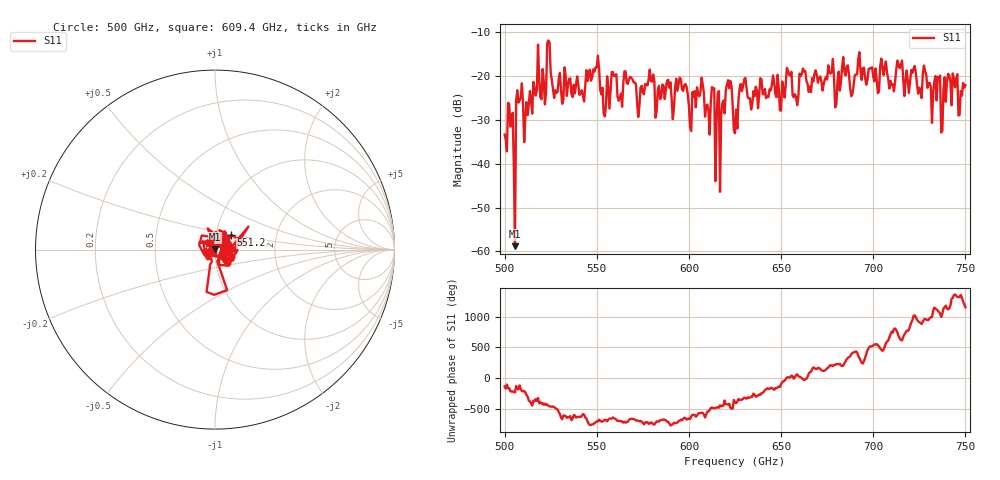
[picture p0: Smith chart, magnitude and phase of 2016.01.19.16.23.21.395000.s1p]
!Created with skrf (http://scikit-rf.org).
# GHz S RI R 50.0
!freq ReS11 ImS11
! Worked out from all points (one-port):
!   401 points, 500 GHz to 750 GHz, reference 50 ohm
!   lowest |S11| = -58.8 dB at 505.6 GHz (marker M1), VSWR 1.00, Z = 49.9 + j0.0937 ohm
!   |S11| at or under -10 dB: start of sweep to end of sweep
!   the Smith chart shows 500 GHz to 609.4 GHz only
!   S11 on the Smith chart (normalised r, x): 500 GHz: 0.97, -0.03; 551.2 GHz: 1.18, +0.19; 609.4 GHz: 0.95, +0.07
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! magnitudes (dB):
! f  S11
! 500 GHz  -33.4
! 503.1 GHz  -31.6
! 504.4 GHz  -28.4
! 505.6 GHz  -58.8
! 508.1 GHz  -25.6
! 511.9 GHz  -26.0
! 524.4 GHz  -12.4
! 526.9 GHz  -25.1
! 531.2 GHz  -26.4
! 551.2 GHz  -18.4
! 553.8 GHz  -28.6
! 559.4 GHz  -20.1
! 562.5 GHz  -24.9
! 566.2 GHz  -21.7
! 593.8 GHz  -23.5
! 609.4 GHz  -26.9
! 612.5 GHz  -22.6
! 615.6 GHz  -24.0
! 621.9 GHz  -22.8
! 625 GHz  -33.1
! 629.4 GHz  -22.4
! 656.2 GHz  -24.4
! 687.5 GHz  -23.1
! 718.8 GHz  -21.2
! 735 GHz  -20.3
! 738.1 GHz  -23.0
! 740 GHz  -21.3
! 750 GHz  -22.2
